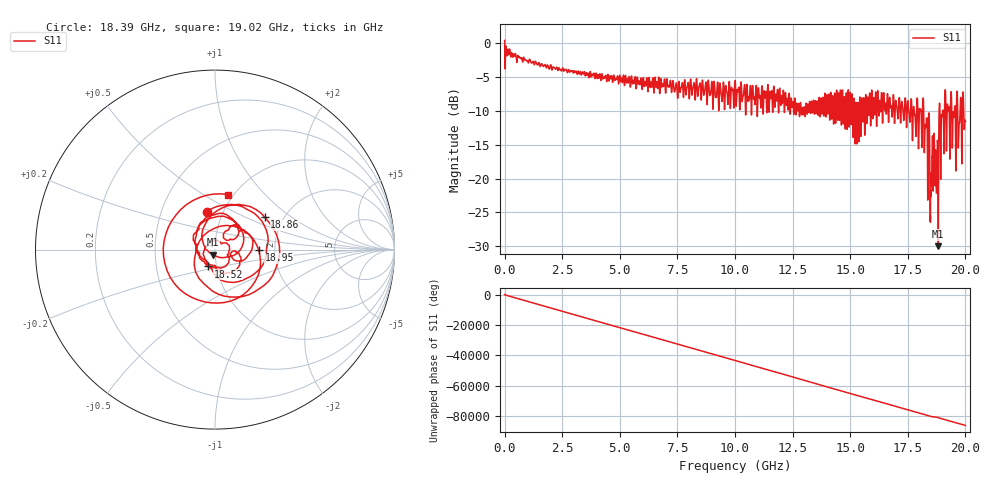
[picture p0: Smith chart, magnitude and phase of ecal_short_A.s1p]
! MS46122B
! 2250307/22442219
! 7/22/2025 7:42:51 AM
! C:\USERS\SPARKY\DOCUMENTS\VNA_DATA\JULY22_2025\3K\ECAL_SHORT_A.S1P
! CHANNEL.1
! TR.MEASUREMENT
! RAW.DATA
# GHZ S RI R 50.0
! FREQ.GHZ  S11RE  S11IM
!; PortSelection: Port_1
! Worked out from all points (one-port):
!   10001 points, 1 MHz to 20 GHz, reference 50 ohm
!   lowest |S11| = -30.0 dB at 18.82 GHz (marker M1), VSWR 1.07, Z = 48.7 - j2.83 ohm
!   |S11| at or under -10 dB: 18.19 GHz to 18.86 GHz (669.2 MHz wide, 3.61 % of centre); 18.9 GHz to 19.03 GHz (129.6 MHz wide, 0.684 % of centre); 19.41 GHz to 19.52 GHz (114.3 MHz wide, 0.587 % of centre) (the widest 3 of 82)
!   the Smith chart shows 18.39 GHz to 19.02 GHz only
!   S11 on the Smith chart (normalised r, x): 18.39 GHz: 0.84, +0.37; 18.52 GHz: 0.91, -0.17; 18.86 GHz: 1.60, +0.65; 18.95 GHz: 1.65, -0.02; 19.02 GHz: 0.95, +0.64
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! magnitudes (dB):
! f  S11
! 1 MHz  0.4
! 2.501 GHz  -3.8
! 5.001 GHz  -4.8
! 7.501 GHz  -7.8
! 10 GHz  -5.5
! 12.5 GHz  -8.9
! 15 GHz  -7.3
! 15.29 GHz  -14.8
! 16.02 GHz  -8.1
! 17.5 GHz  -8.5
! 18.04 GHz  -10.0
! 18.1 GHz  -12.8
! 18.29 GHz  -12.2
! 18.35 GHz  -13.8
! 18.39 GHz  -13.5
! 18.52 GHz  -19.8
! 18.63 GHz  -15.2
! 18.75 GHz  -22.1
! 18.82 GHz  -30.0
! 18.86 GHz  -9.6
! 18.95 GHz  -12.2
! 19.02 GHz  -10.0
! 19.2 GHz  -11.5
! 19.25 GHz  -10.1
! 19.46 GHz  -10.9
! 19.51 GHz  -10.8
! 19.57 GHz  -11.5
! 20 GHz  -11.6
